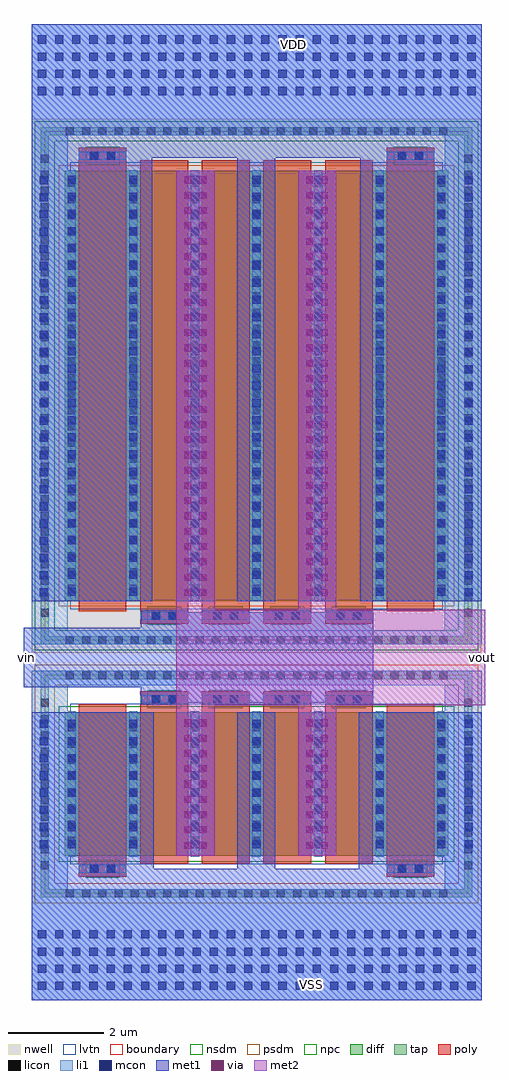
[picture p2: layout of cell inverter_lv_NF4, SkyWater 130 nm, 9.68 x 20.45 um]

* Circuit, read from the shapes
.subckt inverter_lv_NF4 VDD VSS vin vout
XM1 VSS VSS VSS VSS sky130_fd_pr__nfet_01v8_lvt w=3 l=1 m=2
XM2 vout vin VSS VSS sky130_fd_pr__nfet_01v8_lvt w=3 l=1 m=4
XM3 VDD VDD VDD VDD sky130_fd_pr__pfet_01v8_lvt w=9 l=1 m=2
XM4 vout vin VDD VDD sky130_fd_pr__pfet_01v8_lvt w=9 l=1 m=4
.ends

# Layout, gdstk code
import gdstk
lib = gdstk.Library(unit=1e-6, precision=1e-09)
def R(c, l, rs):  # rectangles x0, y0, x1, y1
    for r in rs: c.add(gdstk.rectangle(r[:2], r[2:], *l))
def A(c, l, x, y, w, h, nx, ny, dx, dy):  # array of equal rectangles
    R(c, l, [(x+i*dx, y+j*dy, x+i*dx+w, y+j*dy+h) for i in range(nx) for j in range(ny)])
nwell = (64, 20)
diff = (65, 20)
tap = (65, 44)
poly = (66, 20)
licon = (66, 44)
li1 = (67, 20)
mcon = (67, 44)
met1 = (68, 20)
via = (68, 44)
met2 = (69, 20)
nsdm = (93, 44)
psdm = (94, 20)
npc = (95, 20)
lvtn = (125, 44)
boundary = (235, 4)

sky130_fd_pr__pfet_01v8_ = lib.new_cell('sky130_fd_pr__pfet_01v8_lvt_P4JB26__0')
R(sky130_fd_pr__pfet_01v8_, nwell, [(-4.705,-5.595,4.705,5.595)])
R(sky130_fd_pr__pfet_01v8_, diff, [(-4.015,-4.5,4.015,4.5)])
R(sky130_fd_pr__pfet_01v8_, tap, [(-4.525,-5.415,4.525,-5.245), (-4.525,-5.245,-4.355,5.245), (4.355,-5.245,4.525,5.245), (-4.525,5.245,4.525,5.415)])
A(sky130_fd_pr__pfet_01v8_, poly, -2.435, -4.985, 1, 9.71, 4, 1, 1.29, 0)
R(sky130_fd_pr__pfet_01v8_, poly, [(-3.725,-4.725,-2.725,4.985), (2.725,-4.725,3.725,4.985)])
A(sky130_fd_pr__pfet_01v8_, licon, -3.995, -5.415, 0.17, 0.17, 24, 2, 0.34, 10.66)
A(sky130_fd_pr__pfet_01v8_, licon, -4.525, -4.845, 0.17, 0.17, 1, 29, 0, 0.34)
A(sky130_fd_pr__pfet_01v8_, licon, 4.355, -4.845, 0.17, 0.17, 1, 29, 0, 0.34)
A(sky130_fd_pr__pfet_01v8_, licon, -3.955, -4.335, 0.17, 0.17, 7, 26, 1.29, 0.34)
R(sky130_fd_pr__pfet_01v8_, licon, [(-2.19,-4.905,-2.02,-4.735), (-1.85,-4.905,-1.68,-4.735), (-0.9,-4.905,-0.73,-4.735), (-0.56,-4.905,-0.39,-4.735), (0.39,-4.905,0.56,-4.735), (0.73,-4.905,0.9,-4.735), (1.68,-4.905,1.85,-4.735), (2.02,-4.905,2.19,-4.735), (-3.48,4.735,-3.31,4.905), (-3.14,4.735,-2.97,4.905), (2.97,4.735,3.14,4.905), (3.31,4.735,3.48,4.905)])
A(sky130_fd_pr__pfet_01v8_, li1, -2.435, -4.905, 1, 0.17, 4, 1, 1.29, 0)
A(sky130_fd_pr__pfet_01v8_, li1, -3.955, -4.52, 0.17, 9.04, 7, 1, 1.29, 0)
R(sky130_fd_pr__pfet_01v8_, li1, [(-4.525,-5.415,4.525,-5.245), (-4.525,-5.245,-4.355,5.245), (4.355,-5.245,4.525,5.245), (-3.725,4.735,-2.725,4.905), (2.725,4.735,3.725,4.905), (-4.525,5.245,4.525,5.415)])
A(sky130_fd_pr__pfet_01v8_, mcon, -3.955, -4.405, 0.17, 0.17, 7, 25, 1.29, 0.36)
R(sky130_fd_pr__pfet_01v8_, mcon, [(-2.2,-4.905,-2.03,-4.735), (-1.84,-4.905,-1.67,-4.735), (-0.91,-4.905,-0.74,-4.735), (-0.55,-4.905,-0.38,-4.735), (0.38,-4.905,0.55,-4.735), (0.74,-4.905,0.91,-4.735), (1.67,-4.905,1.84,-4.735), (2.03,-4.905,2.2,-4.735), (-3.49,4.735,-3.32,4.905), (-3.13,4.735,-2.96,4.905), (2.96,4.735,3.13,4.905), (3.32,4.735,3.49,4.905)])
A(sky130_fd_pr__pfet_01v8_, met1, -2.415, -4.935, 0.96, 0.23, 4, 1, 1.29, 0)
A(sky130_fd_pr__pfet_01v8_, met1, -3.985, -4.5, 0.23, 9, 7, 1, 1.29, 0)
R(sky130_fd_pr__pfet_01v8_, met1, [(-3.705,4.705,-2.745,4.935), (2.745,4.705,3.705,4.935)])
R(sky130_fd_pr__pfet_01v8_, nsdm, [(-4.65,-5.54,4.65,-5.12), (-4.65,-5.12,-4.23,5.12), (4.23,-5.12,4.65,5.12), (-4.65,5.12,4.65,5.54)])
R(sky130_fd_pr__pfet_01v8_, psdm, [(-4.14,-4.625,4.14,4.625)])
A(sky130_fd_pr__pfet_01v8_, npc, -2.29, -5.005, 0.71, 0.37, 4, 1, 1.29, 0)
R(sky130_fd_pr__pfet_01v8_, npc, [(-3.58,4.635,-2.87,5.005), (2.87,4.635,3.58,5.005)])
R(sky130_fd_pr__pfet_01v8_, lvtn, [(-3.905,-4.68,3.905,4.68)])
R(sky130_fd_pr__pfet_01v8_, boundary, [(-4.44,-5.33,4.44,5.33)])
sky130_fd_pr__pfet_01v8_.add(gdstk.Label('B', (0,-5.33), layer=67, texttype=5))
sky130_fd_pr__pfet_01v8_.add(gdstk.Label('D0', (-3.87,0), layer=67, texttype=5))
sky130_fd_pr__pfet_01v8_.add(gdstk.Label('G0', (-3.225,4.82), layer=67, texttype=5))
sky130_fd_pr__pfet_01v8_.add(gdstk.Label('S1', (-2.58,0), layer=67, texttype=5))
sky130_fd_pr__pfet_01v8_.add(gdstk.Label('D2', (-1.29,0), layer=67, texttype=5))
sky130_fd_pr__pfet_01v8_.add(gdstk.Label('S3', (0,0), layer=67, texttype=5))
sky130_fd_pr__pfet_01v8_.add(gdstk.Label('D4', (1.29,0), layer=67, texttype=5))
sky130_fd_pr__pfet_01v8_.add(gdstk.Label('S5', (2.58,0), layer=67, texttype=5))
sky130_fd_pr__pfet_01v8_.add(gdstk.Label('G5', (3.225,4.82), layer=67, texttype=5))

sky130_fd_pr__nfet_01v8_ = lib.new_cell('sky130_fd_pr__nfet_01v8_lvt_XCBGUP__0')
R(sky130_fd_pr__nfet_01v8_, diff, [(-4.015,-1.5,4.015,1.5)])
R(sky130_fd_pr__nfet_01v8_, tap, [(-4.525,-2.37,4.525,-2.2), (-4.525,-2.2,-4.355,2.2), (4.355,-2.2,4.525,2.2), (-4.525,2.2,4.525,2.37)])
A(sky130_fd_pr__nfet_01v8_, poly, -2.435, -1.675, 1, 3.615, 4, 1, 1.29, 0)
R(sky130_fd_pr__nfet_01v8_, poly, [(-3.725,-1.94,-2.725,1.675), (2.725,-1.94,3.725,1.675)])
A(sky130_fd_pr__nfet_01v8_, licon, -3.995, -2.37, 0.17, 0.17, 24, 2, 0.34, 4.57)
A(sky130_fd_pr__nfet_01v8_, licon, -4.525, -1.785, 0.17, 0.17, 1, 11, 0, 0.34)
A(sky130_fd_pr__nfet_01v8_, licon, 4.355, -1.785, 0.17, 0.17, 1, 11, 0, 0.34)
A(sky130_fd_pr__nfet_01v8_, licon, -3.955, -1.275, 0.17, 0.17, 7, 8, 1.29, 0.34)
R(sky130_fd_pr__nfet_01v8_, licon, [(-3.48,-1.86,-3.31,-1.69), (-3.14,-1.86,-2.97,-1.69), (2.97,-1.86,3.14,-1.69), (3.31,-1.86,3.48,-1.69), (-2.19,1.69,-2.02,1.86), (-1.85,1.69,-1.68,1.86), (-0.9,1.69,-0.73,1.86), (-0.56,1.69,-0.39,1.86), (0.39,1.69,0.56,1.86), (0.73,1.69,0.9,1.86), (1.68,1.69,1.85,1.86), (2.02,1.69,2.19,1.86)])
A(sky130_fd_pr__nfet_01v8_, li1, -3.955, -1.52, 0.17, 3.04, 7, 1, 1.29, 0)
A(sky130_fd_pr__nfet_01v8_, li1, -2.435, 1.69, 1, 0.17, 4, 1, 1.29, 0)
R(sky130_fd_pr__nfet_01v8_, li1, [(-4.525,-2.37,4.525,-2.2), (-4.525,-2.2,-4.355,2.2), (4.355,-2.2,4.525,2.2), (-3.725,-1.86,-2.725,-1.69), (2.725,-1.86,3.725,-1.69), (-4.525,2.2,4.525,2.37)])
A(sky130_fd_pr__nfet_01v8_, mcon, -3.955, -1.345, 0.17, 0.17, 7, 8, 1.29, 0.36)
R(sky130_fd_pr__nfet_01v8_, mcon, [(-3.49,-1.86,-3.32,-1.69), (-3.13,-1.86,-2.96,-1.69), (2.96,-1.86,3.13,-1.69), (3.32,-1.86,3.49,-1.69), (-2.2,1.69,-2.03,1.86), (-1.84,1.69,-1.67,1.86), (-0.91,1.69,-0.74,1.86), (-0.55,1.69,-0.38,1.86), (0.38,1.69,0.55,1.86), (0.74,1.69,0.91,1.86), (1.67,1.69,1.84,1.86), (2.03,1.69,2.2,1.86)])
A(sky130_fd_pr__nfet_01v8_, met1, -3.985, -1.5, 0.23, 3, 7, 1, 1.29, 0)
A(sky130_fd_pr__nfet_01v8_, met1, -2.415, 1.66, 0.96, 0.23, 4, 1, 1.29, 0)
R(sky130_fd_pr__nfet_01v8_, met1, [(-3.705,-1.89,-2.745,-1.66), (2.745,-1.89,3.705,-1.66)])
R(sky130_fd_pr__nfet_01v8_, nsdm, [(-4.14,-1.625,4.14,1.625)])
R(sky130_fd_pr__nfet_01v8_, psdm, [(-4.65,-2.495,4.65,-2.075), (-4.65,-2.075,-4.23,2.075), (4.23,-2.075,4.65,2.075), (-4.65,2.075,4.65,2.495)])
A(sky130_fd_pr__nfet_01v8_, npc, -2.29, 1.59, 0.71, 0.37, 4, 1, 1.29, 0)
R(sky130_fd_pr__nfet_01v8_, npc, [(-3.58,-1.96,-2.87,-1.59), (2.87,-1.96,3.58,-1.59)])
R(sky130_fd_pr__nfet_01v8_, lvtn, [(-3.905,-1.68,3.905,1.68)])
R(sky130_fd_pr__nfet_01v8_, boundary, [(-4.44,-2.285,4.44,2.285)])
sky130_fd_pr__nfet_01v8_.add(gdstk.Label('B', (0,-2.285), layer=67, texttype=5))
sky130_fd_pr__nfet_01v8_.add(gdstk.Label('D0', (-3.87,0), layer=67, texttype=5))
sky130_fd_pr__nfet_01v8_.add(gdstk.Label('S1', (-2.58,0), layer=67, texttype=5))
sky130_fd_pr__nfet_01v8_.add(gdstk.Label('G1', (-1.935,1.775), layer=67, texttype=5))
sky130_fd_pr__nfet_01v8_.add(gdstk.Label('D2', (-1.29,0), layer=67, texttype=5))
sky130_fd_pr__nfet_01v8_.add(gdstk.Label('G2', (-0.645,1.775), layer=67, texttype=5))
sky130_fd_pr__nfet_01v8_.add(gdstk.Label('S3', (0,0), layer=67, texttype=5))
sky130_fd_pr__nfet_01v8_.add(gdstk.Label('G3', (0.645,1.775), layer=67, texttype=5))
sky130_fd_pr__nfet_01v8_.add(gdstk.Label('D4', (1.29,0), layer=67, texttype=5))
sky130_fd_pr__nfet_01v8_.add(gdstk.Label('G4', (1.935,1.775), layer=67, texttype=5))
sky130_fd_pr__nfet_01v8_.add(gdstk.Label('S5', (2.58,0), layer=67, texttype=5))

inverter_lv_nf4 = lib.new_cell('inverter_lv_NF4')
R(inverter_lv_nf4, li1, [(-0.65,3.025,8.775,5.35), (-0.65,5.35,0.1,9.625), (8,5.35,8.775,9.625), (-0.65,9.625,8.775,9.925), (-0.65,10.475,0.1,10.65), (8,10.475,8.775,10.65), (-0.65,10.65,8.775,10.775), (-0.65,10.775,0.1,21.15), (8,10.775,8.775,21.15), (-0.65,21.15,8.775,23.475)])
A(inverter_lv_nf4, mcon, -0.525, 3.235, 0.17, 0.17, 26, 4, 0.36, 0.36)
A(inverter_lv_nf4, mcon, -0.485, 6.205, 0.17, 0.17, 1, 8, 0, 0.36)
A(inverter_lv_nf4, mcon, 8.415, 6.205, 0.17, 0.17, 1, 8, 0, 0.36)
A(inverter_lv_nf4, mcon, -0.485, 11.48, 0.17, 0.17, 1, 25, 0, 0.36)
A(inverter_lv_nf4, mcon, 8.415, 11.48, 0.17, 0.17, 1, 25, 0, 0.36)
A(inverter_lv_nf4, mcon, -0.525, 21.985, 0.17, 0.17, 26, 4, 0.36, 0.36)
R(inverter_lv_nf4, met1, [(-0.65,3.025,8.775,5.775), (-0.65,5.775,1.9,9.05), (3.65,5.775,4.45,9.05), (6.2,5.775,8.775,9.05), (2.375,6.05,3.175,9.05), (4.925,6.05,5.725,9.05), (1.65,9.25,6.5,9.425), (1.625,9.425,6.5,9.575), (-0.825,9.575,6.5,10.825), (1.625,10.825,6.5,10.975), (1.65,10.975,6.5,11.15), (-0.65,11.375,1.875,20.675), (2.375,11.375,3.175,20.4), (3.65,11.375,4.45,20.675), (4.925,11.375,5.725,20.4), (6.225,11.375,8.775,20.675), (-0.65,20.675,8.775,23.475)])
A(inverter_lv_nf4, via, 2.54, 6.195, 0.15, 0.15, 1, 9, 0, 0.32)
A(inverter_lv_nf4, via, 2.86, 6.195, 0.15, 0.15, 1, 9, 0, 0.32)
A(inverter_lv_nf4, via, 5.09, 6.195, 0.15, 0.15, 1, 9, 0, 0.32)
A(inverter_lv_nf4, via, 5.41, 6.195, 0.15, 0.15, 1, 9, 0, 0.32)
A(inverter_lv_nf4, via, 2.54, 11.49, 0.15, 0.15, 1, 28, 0, 0.32)
A(inverter_lv_nf4, via, 2.86, 11.49, 0.15, 0.15, 1, 28, 0, 0.32)
A(inverter_lv_nf4, via, 5.09, 11.49, 0.15, 0.15, 1, 28, 0, 0.32)
A(inverter_lv_nf4, via, 5.41, 11.49, 0.15, 0.15, 1, 28, 0, 0.32)
R(inverter_lv_nf4, met2, [(2.375,6.05,3.175,9.2), (4.925,6.05,5.725,9.2), (2.375,9.2,8.85,11.2), (2.375,11.2,3.175,20.4), (4.925,11.2,5.725,20.4)])
inverter_lv_nf4.add(gdstk.Reference(sky130_fd_pr__pfet_01v8_, (4.055,15.895)))
inverter_lv_nf4.add(gdstk.Reference(sky130_fd_pr__nfet_01v8_, (4.055,7.55)))
inverter_lv_nf4.add(gdstk.Label('VSS', (5.2,3.35), layer=68, texttype=5))
inverter_lv_nf4.add(gdstk.Label('VDD', (4.825,23.05), layer=68, texttype=5))
inverter_lv_nf4.add(gdstk.Label('vin', (-0.775,10.2), layer=68, texttype=5))
inverter_lv_nf4.add(gdstk.Label('vout', (8.8,10.2), layer=69, texttype=5))

lib.write_gds('inverter_lv_NF4.gds')
